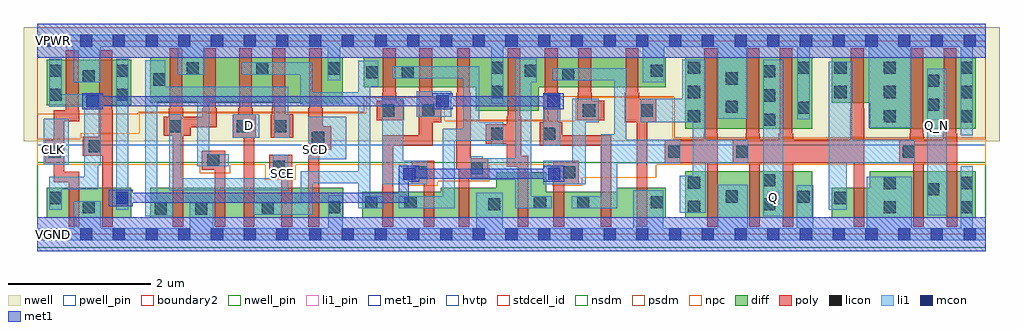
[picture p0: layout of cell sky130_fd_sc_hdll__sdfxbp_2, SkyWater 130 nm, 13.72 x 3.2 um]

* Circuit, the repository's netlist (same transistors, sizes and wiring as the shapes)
* Copyright 2020 The SkyWater PDK Authors
*
* Licensed under the Apache License, Version 2.0 (the "License");
* you may not use this file except in compliance with the License.
* You may obtain a copy of the License at
*
*     https://www.apache.org/licenses/LICENSE-2.0
*
* Unless required by applicable law or agreed to in writing, software
* distributed under the License is distributed on an "AS IS" BASIS,
* WITHOUT WARRANTIES OR CONDITIONS OF ANY KIND, either express or implied.
* See the License for the specific language governing permissions and
* limitations under the License.
*
* SPDX-License-Identifier: Apache-2.0

.SUBCKT sky130_fd_sc_hdll__sdfxbp_2 CLK D SCD SCE VGND VNB VPB VPWR Q Q_N
*.PININFO CLK:I D:I SCD:I SCE:I VGND:I VNB:I VPB:I VPWR:I Q:O Q_N:O
MI98 db D n0 VNB sky130_fd_pr__nfet_01v8 m=1 w=0.42U l=0.15U mult=1 sa=0.265 sb=0.265
+ sd=0.28 area=0.525 perim=3.1
MI103 n1 SCD VGND VNB sky130_fd_pr__nfet_01v8 m=1 w=0.42U l=0.15U mult=1 sa=0.265
+ sb=0.265 sd=0.28 area=0.525 perim=3.1
MI120 db SCE n1 VNB sky130_fd_pr__nfet_01v8 m=1 w=0.42U l=0.15U mult=1 sa=0.265
+ sb=0.265 sd=0.28 area=0.525 perim=3.1
MI104 n0 sceb VGND VNB sky130_fd_pr__nfet_01v8 m=1 w=0.42U l=0.15U mult=1 sa=0.265
+ sb=0.265 sd=0.28 area=0.525 perim=3.1
MI657 M0 clkpos net129 VNB sky130_fd_pr__nfet_01v8 m=1 w=0.36U l=0.15U mult=1 sa=0.265
+ sb=0.265 sd=0.28 area=0.063 perim=1.14
MI656 net129 M1 VGND VNB sky130_fd_pr__nfet_01v8 m=1 w=0.42U l=0.15U mult=1 sa=0.265
+ sb=0.265 sd=0.28 area=0.063 perim=1.14
MI641 net120 S1 VGND VNB sky130_fd_pr__nfet_01v8 m=1 w=0.42U l=0.15U mult=1 sa=0.265
+ sb=0.265 sd=0.28 area=0.063 perim=1.14
MI642 S0 clkneg net120 VNB sky130_fd_pr__nfet_01v8 m=1 w=0.36U l=0.15U mult=1 sa=0.265
+ sb=0.265 sd=0.28 area=0.063 perim=1.14
MI646 Q S1 VGND VNB sky130_fd_pr__nfet_01v8 m=2 w=0.65U l=0.15U mult=1 sa=0.265
+ sb=0.265 sd=0.28 area=0.063 perim=1.14
MI648 db clkneg M0 VNB sky130_fd_pr__nfet_01v8 m=1 w=0.36U l=0.15U mult=1 sa=0.265
+ sb=0.265 sd=0.28 area=0.063 perim=1.14
MI635 clkneg CLK VGND VNB sky130_fd_pr__nfet_01v8 m=1 w=0.42U l=0.15U mult=1 sa=0.265
+ sb=0.265 sd=0.28 area=0.063 perim=1.14
MI639 sceb SCE VGND VNB sky130_fd_pr__nfet_01v8 m=1 w=0.42U l=0.15U mult=1 sa=0.265
+ sb=0.265 sd=0.28 area=0.063 perim=1.14
MI652 M1 clkpos S0 VNB sky130_fd_pr__nfet_01v8 m=1 w=0.36U l=0.15U mult=1 sa=0.265
+ sb=0.265 sd=0.28 area=0.063 perim=1.14
MI661 Q_N net153 VGND VNB sky130_fd_pr__nfet_01v8 m=2 w=0.65U l=0.15U mult=1 sa=0.265
+ sb=0.265 sd=0.28 area=0.063 perim=1.14
MI662 net153 S1 VGND VNB sky130_fd_pr__nfet_01v8 m=1 w=0.42U l=0.15U mult=1 sa=0.265
+ sb=0.265 sd=0.28 area=0.063 perim=1.14
MI649 S1 S0 VGND VNB sky130_fd_pr__nfet_01v8 m=1 w=0.65U l=0.15U mult=1 sa=0.265
+ sb=0.265 sd=0.28 area=0.063 perim=1.14
MI634 M1 M0 VGND VNB sky130_fd_pr__nfet_01v8 m=1 w=0.64U l=0.15U mult=1 sa=0.265
+ sb=0.265 sd=0.28 area=0.063 perim=1.14
MI636 clkpos clkneg VGND VNB sky130_fd_pr__nfet_01v8 m=1 w=0.42U l=0.15U mult=1
+ sa=0.265 sb=0.265 sd=0.28 area=0.063 perim=1.14
MI107 p0 SCE VPWR VPB sky130_fd_pr__pfet_01v8_hvt m=1 w=0.64U l=0.18U mult=1 sa=0.265
+ sb=0.265 sd=0.28 area=0.063 perim=1.14
MI94 db D p0 VPB sky130_fd_pr__pfet_01v8_hvt m=1 w=0.64U l=0.18U mult=1 sa=0.265
+ sb=0.265 sd=0.28 area=0.063 perim=1.14
MI101 db sceb p1 VPB sky130_fd_pr__pfet_01v8_hvt m=1 w=0.64U l=0.18U mult=1 sa=0.265
+ sb=0.265 sd=0.28 area=0.063 perim=1.14
MI108 p1 SCD VPWR VPB sky130_fd_pr__pfet_01v8_hvt m=1 w=0.64U l=0.18U mult=1 sa=0.265
+ sb=0.265 sd=0.28 area=0.063 perim=1.14
MI637 clkpos clkneg VPWR VPB sky130_fd_pr__pfet_01v8_hvt m=1 w=0.64U l=0.18U mult=1
+ sa=0.265 sb=0.265 sd=0.28 area=0.063 perim=1.14
MI650 S1 S0 VPWR VPB sky130_fd_pr__pfet_01v8_hvt m=1 w=1.0U l=0.18U mult=1 sa=0.265
+ sb=0.265 sd=0.28 area=0.063 perim=1.14
MI644 S0 clkpos net177 VPB sky130_fd_pr__pfet_01v8_hvt m=1 w=0.42U l=0.18U mult=1
+ sa=0.265 sb=0.265 sd=0.28 area=0.063 perim=1.14
MI664 M1 M0 VPWR VPB sky130_fd_pr__pfet_01v8_hvt m=1 w=0.75U l=0.18U mult=1 sa=0.265
+ sb=0.265 sd=0.28 area=0.063 perim=1.14
MI658 net189 M1 VPWR VPB sky130_fd_pr__pfet_01v8_hvt m=1 w=0.42U l=0.18U mult=1
+ sa=0.265 sb=0.265 sd=0.28 area=0.063 perim=1.14
MI645 Q S1 VPWR VPB sky130_fd_pr__pfet_01v8_hvt m=2 w=1.0U l=0.18U mult=1 sa=0.265
+ sb=0.265 sd=0.28 area=0.063 perim=1.14
MI660 Q_N net153 VPWR VPB sky130_fd_pr__pfet_01v8_hvt m=2 w=1.0U l=0.18U mult=1
+ sa=0.265 sb=0.265 sd=0.28 area=0.063 perim=1.14
MI643 net177 S1 VPWR VPB sky130_fd_pr__pfet_01v8_hvt m=1 w=0.42U l=0.18U mult=1
+ sa=0.265 sb=0.265 sd=0.28 area=0.063 perim=1.14
MI651 db clkpos M0 VPB sky130_fd_pr__pfet_01v8_hvt m=1 w=0.42U l=0.18U mult=1 sa=0.265
+ sb=0.265 sd=0.28 area=0.063 perim=1.14
MI653 M1 clkneg S0 VPB sky130_fd_pr__pfet_01v8_hvt m=1 w=0.42U l=0.18U mult=1 sa=0.265
+ sb=0.265 sd=0.28 area=0.063 perim=1.14
MI640 sceb SCE VPWR VPB sky130_fd_pr__pfet_01v8_hvt m=1 w=0.64U l=0.18U mult=1
+ sa=0.265 sb=0.265 sd=0.28 area=0.063 perim=1.14
MI659 M0 clkneg net189 VPB sky130_fd_pr__pfet_01v8_hvt m=1 w=0.42U l=0.18U mult=1
+ sa=0.265 sb=0.265 sd=0.28 area=0.063 perim=1.14
MI638 clkneg CLK VPWR VPB sky130_fd_pr__pfet_01v8_hvt m=1 w=0.64U l=0.18U mult=1
+ sa=0.265 sb=0.265 sd=0.28 area=0.063 perim=1.14
MI647 net153 S1 VPWR VPB sky130_fd_pr__pfet_01v8_hvt m=1 w=0.64U l=0.18U mult=1
+ sa=0.265 sb=0.265 sd=0.28 area=0.063 perim=1.14
.ENDS sky130_fd_sc_hdll__sdfxbp_2

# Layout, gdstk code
import gdstk
lib = gdstk.Library(unit=1e-6, precision=1e-09)
def R(c, l, rs):  # rectangles x0, y0, x1, y1
    for r in rs: c.add(gdstk.rectangle(r[:2], r[2:], *l))
def A(c, l, x, y, w, h, nx, ny, dx, dy):  # array of equal rectangles
    R(c, l, [(x+i*dx, y+j*dy, x+i*dx+w, y+j*dy+h) for i in range(nx) for j in range(ny)])
def P(c, l, *ps):  # polygons
    for p in ps: c.add(gdstk.Polygon(p, *l))
nwell_pin = (64, 16)
nwell = (64, 20)
diff = (65, 20)
poly = (66, 20)
licon = (66, 44)
li1_pin = (67, 16)
li1 = (67, 20)
mcon = (67, 44)
met1_pin = (68, 16)
met1 = (68, 20)
hvtp = (78, 44)
stdcell_id = (81, 4)
nsdm = (93, 44)
psdm = (94, 20)
npc = (95, 20)
pwell_pin = (122, 16)
boundary2 = (236, 0)

sky130_fd_sc_hdll__sdfxb = lib.new_cell('sky130_fd_sc_hdll__sdfxbp_2')
R(sky130_fd_sc_hdll__sdfxb, nwell_pin, [(0.145,2.635,0.315,2.805), (0.145,2.635,0.315,2.805)])
R(sky130_fd_sc_hdll__sdfxb, nwell, [(-0.19,1.305,13.53,2.91)])
R(sky130_fd_sc_hdll__sdfxb, diff, [(0.135,0.235,1.325,0.655), (1.595,0.235,4.305,0.655), (9.11,0.235,10.9,0.885), (9.11,1.485,10.9,2.485), (0.135,1.815,1.325,2.455), (1.595,1.845,4.3,2.485)])
P(sky130_fd_sc_hdll__sdfxb, diff, [(13.195,0.885),(11.705,0.885),(11.705,0.655),(11.17,0.655),(11.17,0.235),(13.195,0.235)],
  [(8.84,0.655),(8.15,0.655),(8.15,0.595),(7.155,0.595),(7.155,0.875),(6.455,0.875),(6.455,0.655),(5.675,0.655),(5.675,0.595),(4.575,0.595),(4.575,0.235),(8.84,0.235)],
  [(8.84,2.485),(4.59,2.485),(4.59,2.065),(6.17,2.065),(6.17,1.735),(7.055,1.735),(7.055,2.065),(8.84,2.065)],
  [(13.195,2.485),(11.17,2.485),(11.17,1.845),(11.705,1.845),(11.705,1.485),(13.195,1.485)])
P(sky130_fd_sc_hdll__sdfxb, poly, [(0.595,1.74),(0.585,1.74),(0.585,2.585),(0.405,2.585),(0.405,1.74),(0.235,1.74),(0.235,1.325),(0.115,1.325),(0.115,0.995),(0.235,0.995),(0.235,0.73),(0.445,0.73),(0.445,0.105),(0.595,0.105),(0.595,0.88),(0.385,0.88),(0.385,1.59),(0.595,1.59)],
  [(1.065,1.74),(1.055,1.74),(1.055,2.585),(0.875,2.585),(0.875,1.74),(0.865,1.74),(0.865,1.37),(0.645,1.37),(0.645,1.1),(0.915,1.1),(0.915,0.105),(1.065,0.105)],
  [(2.525,1.77),(2.515,1.77),(2.515,2.615),(2.335,2.615),(2.335,1.77),(2.325,1.77),(2.325,1.655),(2.055,1.655),(2.055,1.77),(2.045,1.77),(2.045,2.615),(1.865,2.615),(1.865,1.77),(1.855,1.77),(1.855,1.655),(1.78,1.655),(1.78,1.385),(1.905,1.385),(1.905,0.105),(2.055,0.105),(2.055,1.385),(2.16,1.385),(2.16,1.505),(2.525,1.505)],
  [(2.645,1.175),(2.315,1.175),(2.315,0.905),(2.495,0.905),(2.495,0.105),(2.645,0.105)],
  [(3.075,1.685),(3.03,1.685),(3.03,1.77),(3.02,1.77),(3.02,2.615),(2.84,2.615),(2.84,1.77),(2.83,1.77),(2.83,1.685),(2.755,1.685),(2.755,1.355),(2.905,1.355),(2.905,0.105),(3.055,0.105),(3.055,1.355),(3.075,1.355)],
  [(3.585,1.115),(3.265,1.115),(3.265,0.785),(3.435,0.785),(3.435,0.105),(3.585,0.105)],
  [(3.605,1.685),(3.5,1.685),(3.5,1.77),(3.49,1.77),(3.49,2.615),(3.31,2.615),(3.31,1.77),(3.3,1.77),(3.3,1.685),(3.285,1.685),(3.285,1.355),(3.605,1.355)],
  [(4.135,1.52),(4.015,1.52),(4.015,1.77),(4.005,1.77),(4.005,2.615),(3.825,2.615),(3.825,1.77),(3.815,1.77),(3.815,0.105),(3.965,0.105),(3.965,1.19),(4.135,1.19)],
  [(5.155,1.875),(5.05,1.875),(5.05,1.99),(5.04,1.99),(5.04,2.615),(4.86,2.615),(4.86,1.99),(4.85,1.99),(4.85,1.875),(4.775,1.875),(4.775,1.605),(5.155,1.605)],
  [(5.585,1.035),(5.265,1.035),(5.265,0.705),(5.435,0.705),(5.435,0.105),(5.585,0.105)],
  [(5.685,1.905),(5.565,1.905),(5.565,1.99),(5.555,1.99),(5.555,2.615),(5.375,2.615),(5.375,1.99),(5.365,1.99),(5.365,1.395),(4.855,1.395),(4.855,0.105),(5.005,0.105),(5.005,1.245),(5.565,1.245),(5.565,1.575),(5.685,1.575)],
  [(6.345,1.065),(6.095,1.065),(6.095,1.99),(6.085,1.99),(6.085,2.615),(5.905,2.615),(5.905,1.99),(5.895,1.99),(5.895,0.915),(5.925,0.915),(5.925,0.105),(6.075,0.105),(6.075,0.795),(6.345,0.795)],
  [(6.905,1.1),(6.805,1.1),(6.805,1.66),(6.795,1.66),(6.795,2.615),(6.615,2.615),(6.615,1.66),(6.605,1.66),(6.605,1.545),(6.305,1.545),(6.305,1.275),(6.605,1.275),(6.605,0.95),(6.755,0.95),(6.755,0.105),(6.905,0.105)],
  [(7.615,1.035),(7.26,1.035),(7.26,0.105),(7.41,0.105),(7.41,0.705),(7.615,0.705)],
  [(7.975,1.875),(7.8,1.875),(7.8,1.99),(7.79,1.99),(7.79,2.615),(7.61,2.615),(7.61,1.99),(7.6,1.99),(7.6,1.875),(7.595,1.875),(7.595,1.605),(7.975,1.605)],
  [(8.075,1.395),(7.385,1.395),(7.385,1.575),(7.33,1.575),(7.33,1.99),(7.32,1.99),(7.32,2.615),(7.14,2.615),(7.14,1.99),(7.13,1.99),(7.13,1.575),(7.065,1.575),(7.065,1.245),(7.925,1.245),(7.925,0.105),(8.075,0.105)],
  [(8.705,1.905),(8.465,1.905),(8.465,1.99),(8.455,1.99),(8.455,2.615),(8.275,2.615),(8.275,1.99),(8.265,1.99),(8.265,1.575),(8.43,1.575),(8.43,0.105),(8.58,0.105),(8.58,1.575),(8.705,1.575)],
  [(9.57,1.41),(9.56,1.41),(9.56,2.615),(9.38,2.615),(9.38,1.41),(9.37,1.41),(9.37,1.325),(8.825,1.325),(8.825,0.995),(9.42,0.995),(9.42,0.105),(9.57,0.105)],
  [(11.63,1.77),(11.62,1.77),(11.62,2.615),(11.44,2.615),(11.44,1.77),(11.43,1.77),(11.43,1.325),(10.63,1.325),(10.63,1.41),(10.62,1.41),(10.62,2.615),(10.44,2.615),(10.44,1.41),(10.43,1.41),(10.43,1.325),(10.16,1.325),(10.16,1.41),(10.15,1.41),(10.15,2.615),(9.97,2.615),(9.97,1.41),(9.96,1.41),(9.96,1.325),(9.78,1.325),(9.78,0.995),(10.01,0.995),(10.01,0.105),(10.16,0.105),(10.16,0.995),(10.48,0.995),(10.48,0.105),(10.63,0.105),(10.63,0.995),(11.48,0.995),(11.48,0.105),(11.63,0.105)],
  [(12.935,1.41),(12.925,1.41),(12.925,2.615),(12.745,2.615),(12.745,1.41),(12.735,1.41),(12.735,1.325),(12.465,1.325),(12.465,1.41),(12.455,1.41),(12.455,2.615),(12.275,2.615),(12.275,1.41),(12.265,1.41),(12.265,1.325),(12.12,1.325),(12.12,0.995),(12.315,0.995),(12.315,0.105),(12.465,0.105),(12.465,0.995),(12.785,0.995),(12.785,0.105),(12.935,0.105)])
A(sky130_fd_sc_hdll__sdfxb, licon, 10.21, 1.525, 0.17, 0.17, 1, 3, 0, 0.34)
A(sky130_fd_sc_hdll__sdfxb, licon, 9.15, 1.575, 0.17, 0.17, 1, 3, 0, 0.34)
A(sky130_fd_sc_hdll__sdfxb, licon, 11.9, 1.575, 0.17, 0.17, 1, 3, 0, 0.34)
A(sky130_fd_sc_hdll__sdfxb, licon, 12.985, 1.575, 0.17, 0.17, 1, 3, 0, 0.34)
R(sky130_fd_sc_hdll__sdfxb, licon, [(1.655,0.275,1.825,0.445), (2.225,0.275,2.395,0.445), (3.16,0.275,3.33,0.445), (0.645,0.295,0.815,0.465), (4.095,0.295,4.265,0.465), (11.9,0.295,12.07,0.465), (12.985,0.295,13.155,0.465), (9.15,0.3,9.32,0.47), (6.345,0.335,6.515,0.505), (10.21,0.335,10.38,0.505), (4.615,0.365,4.785,0.535), (5.165,0.365,5.335,0.535), (6.985,0.365,7.155,0.535), (7.595,0.365,7.765,0.535), (8.63,0.365,8.8,0.535), (0.175,0.425,0.345,0.595), (1.115,0.425,1.285,0.595), (11.21,0.425,11.38,0.595), (10.69,0.44,10.86,0.61), (9.68,0.445,9.85,0.615), (12.515,0.545,12.685,0.715), (11.9,0.635,12.07,0.805), (12.985,0.635,13.155,0.805), (9.15,0.64,9.32,0.81), (10.21,0.675,10.38,0.845), (5.315,0.785,5.485,0.955), (7.395,0.785,7.565,0.955), (6.095,0.845,6.265,1.015), (3.315,0.865,3.485,1.035), (2.395,0.955,2.565,1.125), (0.165,1.075,0.335,1.245), (8.875,1.075,9.045,1.245), (9.83,1.075,10,1.245), (12.17,1.075,12.34,1.245), (0.725,1.15,0.895,1.32), (3.865,1.27,4.035,1.44), (6.385,1.325,6.555,1.495), (7.115,1.325,7.285,1.495), (1.86,1.435,2.03,1.605), (2.805,1.435,2.975,1.605), (3.335,1.435,3.505,1.605), (4.855,1.655,5.025,1.825), (5.415,1.655,5.585,1.825), (7.675,1.655,7.845,1.825), (8.485,1.655,8.655,1.825), (10.69,1.695,10.86,1.865), (9.68,1.705,9.85,1.875), (12.515,1.735,12.685,1.905), (0.175,1.875,0.345,2.045), (1.115,1.875,1.285,2.045), (6.385,1.915,6.555,2.085), (11.21,1.915,11.38,2.085), (12.515,2.075,12.685,2.245), (1.635,2.09,1.805,2.26), (9.68,2.105,9.85,2.275), (0.645,2.135,0.815,2.305), (7.38,2.165,7.55,2.335), (4.63,2.19,4.8,2.36), (5.125,2.19,5.295,2.36), (0.175,2.215,0.345,2.385), (1.115,2.215,1.285,2.385), (6.855,2.215,7.025,2.385), (8.625,2.215,8.795,2.385), (2.105,2.245,2.275,2.415), (3.08,2.245,3.25,2.415), (4.09,2.245,4.26,2.415), (6.385,2.255,6.555,2.425), (10.69,2.255,10.86,2.425), (11.21,2.255,11.38,2.425)])
R(sky130_fd_sc_hdll__sdfxb, li1_pin, [(10.265,0.425,10.435,0.595), (3.365,0.765,3.535,0.935), (0.145,1.105,0.315,1.275), (3.825,1.105,3.995,1.275), (2.905,1.445,3.075,1.615), (12.565,1.445,12.735,1.615)])
R(sky130_fd_sc_hdll__sdfxb, li1, [(10.21,0.255,10.49,2.455), (12.515,0.265,12.785,2.325), (1.115,0.345,1.285,2.465), (0.095,0.975,0.445,1.625), (3.815,1.055,4.345,1.655), (7.115,1.245,7.355,1.965), (2.755,1.355,3.125,1.685), (5.335,1.655,5.825,2.01)])
P(sky130_fd_sc_hdll__sdfxb, li1, [(12.34,1.325),(11.46,1.325),(11.46,2.425),(11.13,2.425),(11.13,0.345),(11.38,0.345),(11.38,0.995),(12.34,0.995)],
  [(13.34,0.085),(13.155,0.085),(13.155,0.955),(12.985,0.955),(12.985,0.085),(12.295,0.085),(12.295,0.805),(11.665,0.805),(11.665,0.085),(10.91,0.085),(10.91,0.69),(10.68,0.69),(10.68,0.085),(9.99,0.085),(9.99,0.695),(9.57,0.695),(9.57,0.085),(8.8,0.085),(8.8,0.615),(8.38,0.615),(8.38,0.085),(6.545,0.085),(6.545,0.585),(6.175,0.585),(6.175,0.085),(4.295,0.085),(4.295,0.545),(4.095,0.545),(4.095,0.085),(2.475,0.085),(2.475,0.445),(2.145,0.445),(2.145,0.085),(0.895,0.085),(0.895,0.465),(0.515,0.465),(0.515,0.085),(0,0.085),(0,-0.085),(13.34,-0.085)],
  [(9.045,1.325),(8.285,1.325),(8.285,2.335),(7.25,2.335),(7.25,2.165),(8.115,2.165),(8.115,1.405),(7.935,1.405),(7.935,0.535),(7.515,0.535),(7.515,0.365),(8.155,0.365),(8.155,0.995),(9.045,0.995)],
  [(7.895,1.905),(7.525,1.905),(7.525,1.035),(7.115,1.035),(7.115,0.705),(7.715,0.705),(7.715,1.575),(7.895,1.575)],
  [(7.235,0.535),(6.945,0.535),(6.945,2.135),(7.025,2.135),(7.025,2.465),(6.725,2.465),(6.725,1.065),(6.265,1.065),(6.265,1.095),(6.095,1.095),(6.095,0.765),(6.725,0.765),(6.725,0.365),(7.235,0.365)],
  [(6.555,1.575),(6.215,1.575),(6.215,2.36),(4.995,2.36),(4.995,2.19),(5.995,2.19),(5.995,1.485),(5.705,1.485),(5.705,0.535),(5.085,0.535),(5.085,0.365),(5.875,0.365),(5.875,1.315),(6.385,1.315),(6.385,1.245),(6.555,1.245)],
  [(5.485,1.035),(5.145,1.035),(5.145,1.905),(4.855,1.905),(4.855,0.705),(5.485,0.705)],
  [(4.865,0.535),(4.685,0.535),(4.685,2.07),(4.8,2.07),(4.8,2.44),(4.515,2.44),(4.515,1.995),(3.87,1.995),(3.87,2.415),(2.875,2.415),(2.875,2.245),(3.7,2.245),(3.7,1.825),(4.515,1.825),(4.515,0.885),(3.705,0.885),(3.705,0.445),(3.05,0.445),(3.05,0.275),(3.875,0.275),(3.875,0.715),(4.515,0.715),(4.515,0.365),(4.865,0.365)],
  [(3.555,1.685),(3.53,1.685),(3.53,2.075),(1.805,2.075),(1.805,2.445),(1.52,2.445),(1.52,0.255),(1.905,0.255),(1.905,0.445),(1.69,0.445),(1.69,1.86),(2.25,1.86),(2.25,0.955),(2.695,0.955),(2.695,1.125),(2.42,1.125),(2.42,1.86),(3.335,1.86),(3.335,1.355),(3.555,1.355)],
  [(3.535,1.115),(3.315,1.115),(3.315,0.785),(2.03,0.785),(2.03,1.685),(1.86,1.685),(1.86,0.615),(3.535,0.615)],
  [(0.895,1.965),(0.345,1.965),(0.345,2.465),(0.175,2.465),(0.175,1.795),(0.665,1.795),(0.665,0.805),(0.175,0.805),(0.175,0.345),(0.345,0.345),(0.345,0.635),(0.86,0.635),(0.86,0.97),(0.895,0.97)],
  [(10,1.325),(9.4,1.325),(9.4,2.455),(9.07,2.455),(9.07,1.905),(8.485,1.905),(8.485,1.575),(9.215,1.575),(9.215,0.825),(9.035,0.825),(9.035,0.3),(9.4,0.3),(9.4,0.995),(10,0.995)],
  [(13.34,2.805),(0,2.805),(0,2.635),(0.515,2.635),(0.515,2.135),(0.895,2.135),(0.895,2.635),(1.975,2.635),(1.975,2.245),(2.355,2.245),(2.355,2.635),(4.09,2.635),(4.09,2.165),(4.26,2.165),(4.26,2.635),(6.385,2.635),(6.385,1.835),(6.555,1.835),(6.555,2.635),(8.515,2.635),(8.515,2.135),(8.82,2.135),(8.82,2.635),(9.57,2.635),(9.57,1.625),(9.99,1.625),(9.99,2.635),(10.69,2.635),(10.69,1.615),(10.86,1.615),(10.86,2.635),(11.69,2.635),(11.69,1.495),(12.295,1.495),(12.295,2.635),(12.985,2.635),(12.985,1.395),(13.155,1.395),(13.155,2.635),(13.34,2.635)])
A(sky130_fd_sc_hdll__sdfxb, mcon, 0.145, -0.085, 0.17, 0.17, 29, 2, 0.46, 2.72)
R(sky130_fd_sc_hdll__sdfxb, mcon, [(1.115,0.425,1.285,0.595), (5.145,0.765,5.315,0.935), (7.185,0.765,7.355,0.935), (0.695,1.785,0.865,1.955), (5.615,1.785,5.785,1.955), (7.175,1.785,7.345,1.955)])
R(sky130_fd_sc_hdll__sdfxb, met1_pin, [(0.145,-0.085,0.315,0.085), (0.145,2.635,0.315,2.805)])
R(sky130_fd_sc_hdll__sdfxb, met1, [(0,-0.24,13.34,0.24), (0,2.48,13.34,2.96)])
P(sky130_fd_sc_hdll__sdfxb, met1, [(7.405,1.985),(7.115,1.985),(7.115,1.94),(5.845,1.94),(5.845,1.985),(5.555,1.985),(5.555,1.94),(0.925,1.94),(0.925,1.985),(0.635,1.985),(0.635,1.755),(0.925,1.755),(0.925,1.8),(5.555,1.8),(5.555,1.755),(5.845,1.755),(5.845,1.8),(7.115,1.8),(7.115,1.755),(7.405,1.755)],
  [(7.415,0.965),(7.125,0.965),(7.125,0.92),(5.375,0.92),(5.375,0.965),(5.085,0.965),(5.085,0.58),(1.345,0.58),(1.345,0.625),(1.005,0.625),(1.005,0.395),(1.345,0.395),(1.345,0.44),(5.225,0.44),(5.225,0.735),(5.375,0.735),(5.375,0.78),(7.125,0.78),(7.125,0.735),(7.415,0.735)])
R(sky130_fd_sc_hdll__sdfxb, hvtp, [(0,1.25,13.34,2.72)])
R(sky130_fd_sc_hdll__sdfxb, stdcell_id, [(0,0,13.34,2.72)])
R(sky130_fd_sc_hdll__sdfxb, nsdm, [(0,-0.19,13.34,1.015)])
P(sky130_fd_sc_hdll__sdfxb, psdm, [(13.34,2.91),(0,2.91),(0,1.685),(1.42,1.685),(1.42,1.715),(4.6,1.715),(4.6,1.935),(5.99,1.935),(5.99,1.605),(7.185,1.605),(7.185,1.935),(8.96,1.935),(8.96,1.355),(13.34,1.355)])
P(sky130_fd_sc_hdll__sdfxb, npc, [(13.34,1.345),(8.94,1.345),(8.94,1.925),(7.575,1.925),(7.575,1.595),(5.735,1.595),(5.735,1.925),(4.63,1.925),(4.63,1.705),(1.435,1.705),(1.435,1.42),(0.615,1.42),(0.615,1.345),(0,1.345),(0,0.975),(2.285,0.975),(2.285,0.855),(2.715,0.855),(2.715,0.975),(3.205,0.975),(3.205,0.765),(3.635,0.765),(3.635,0.975),(5.215,0.975),(5.215,0.685),(5.635,0.685),(5.635,0.745),(6.365,0.745),(6.365,0.975),(7.245,0.975),(7.245,0.685),(7.665,0.685),(7.665,0.795),(8.705,0.795),(8.705,0.975),(13.34,0.975)])
R(sky130_fd_sc_hdll__sdfxb, pwell_pin, [(0.145,-0.085,0.315,0.085), (0.145,-0.085,0.315,0.085)])
R(sky130_fd_sc_hdll__sdfxb, boundary2, [(0,0,13.34,2.72)])
sky130_fd_sc_hdll__sdfxb.add(gdstk.Label('VPWR', (0.23,2.72), layer=68, texttype=5))
sky130_fd_sc_hdll__sdfxb.add(gdstk.Label('VGND', (0.23,0), layer=68, texttype=5))
sky130_fd_sc_hdll__sdfxb.add(gdstk.Label('Q_N', (12.65,1.53), layer=67, texttype=5))
sky130_fd_sc_hdll__sdfxb.add(gdstk.Label('Q', (10.35,0.51), layer=67, texttype=5))
sky130_fd_sc_hdll__sdfxb.add(gdstk.Label('CLK', (0.23,1.19), layer=67, texttype=5))
sky130_fd_sc_hdll__sdfxb.add(gdstk.Label('SCE', (3.45,0.85), layer=67, texttype=5))
sky130_fd_sc_hdll__sdfxb.add(gdstk.Label('D', (2.99,1.53), layer=67, texttype=5))
sky130_fd_sc_hdll__sdfxb.add(gdstk.Label('SCD', (3.91,1.19), layer=67, texttype=5))
sky130_fd_sc_hdll__sdfxb.add(gdstk.Label('VNB', (0.23,0), layer=64, texttype=59))
sky130_fd_sc_hdll__sdfxb.add(gdstk.Label('VNB', (0.23,0), layer=64, texttype=59))
sky130_fd_sc_hdll__sdfxb.add(gdstk.Label('VPB', (0.23,2.72), layer=64, texttype=5))
sky130_fd_sc_hdll__sdfxb.add(gdstk.Label('VPB', (0.23,2.72), layer=64, texttype=5))
sky130_fd_sc_hdll__sdfxb.add(gdstk.Label('sdfxbp_2', (0,0), layer=83, texttype=44))

lib.write_gds('sky130_fd_sc_hdll__sdfxbp_2.gds')
